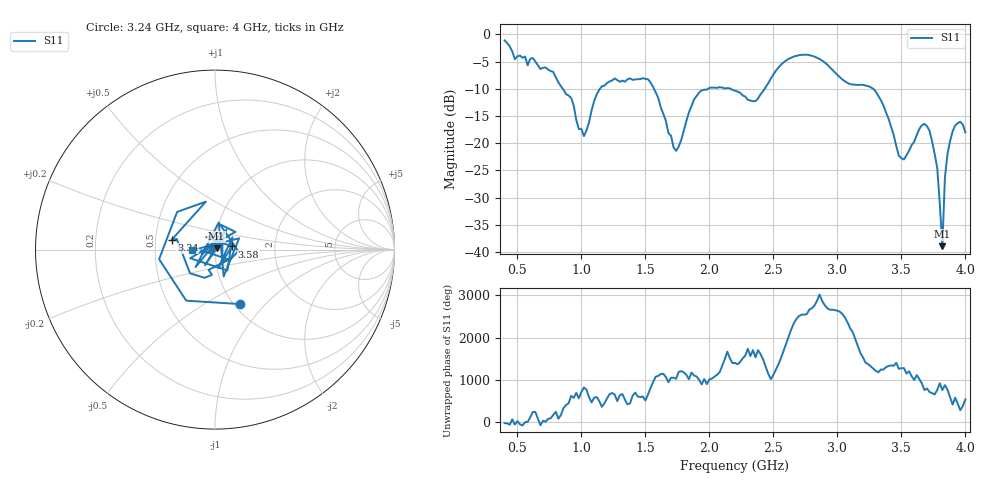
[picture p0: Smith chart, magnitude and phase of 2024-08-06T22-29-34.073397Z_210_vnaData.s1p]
!Created with skrf (http://scikit-rf.org).
# Hz S RI R 50.0
!freq ReS11 ImS11
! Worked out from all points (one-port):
!   181 points, 400 MHz to 4 GHz, reference 50 ohm
!   lowest |S11| = -38.9 dB at 3.82 GHz (marker M1), VSWR 1.02, Z = 50.8 + j0.773 ohm
!   |S11| at or under -10 dB: 855 MHz to 1.146 GHz (290.6 MHz wide, 29.1 % of centre); 1.567 GHz to 1.99 GHz (423.2 MHz wide, 23.8 % of centre); 3.279 GHz to end of sweep (the widest 3 of 4)
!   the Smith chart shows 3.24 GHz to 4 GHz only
!   S11 on the Smith chart (normalised r, x): 3.24 GHz: 1.07, -0.73; 3.34 GHz: 0.61, +0.07; 3.58 GHz: 1.21, +0.04; 4 GHz: 0.78, -0.00
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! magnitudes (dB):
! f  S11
! 400 MHz  -1.1
! 480 MHz  -4.6
! 620 MHz  -4.4
! 860 MHz  -10.2
! 1.02 GHz  -18.7
! 1.14 GHz  -10.2
! 1.3 GHz  -8.7
! 1.52 GHz  -8.3
! 1.72 GHz  -20.8
! 1.76 GHz  -20.6
! 1.92 GHz  -10.7
! 2.2 GHz  -10.4
! 2.36 GHz  -12.3
! 2.66 GHz  -4.1
! 3.1 GHz  -9.2
! 3.24 GHz  -9.5
! 3.34 GHz  -12.1
! 3.48 GHz  -22.3
! 3.56 GHz  -21.4
! 3.58 GHz  -20.3
! 3.66 GHz  -16.7
! 3.72 GHz  -17.7
! 3.78 GHz  -24.6
! 3.82 GHz  -38.9
! 3.84 GHz  -26.3
! 3.88 GHz  -19.7
! 3.94 GHz  -16.3
! 4 GHz  -18.0
